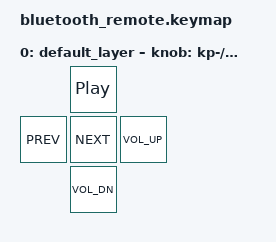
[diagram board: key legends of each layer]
#include <behaviors.dtsi>
#include <dt-bindings/zmk/keys.h>
#include <dt-bindings/zmk/bt.h>

/ {
    behaviors {
        /* Kopplungsmodus starten (loescht den alten PC) */
        pairing_start: pairing_start {
            compatible = "zmk,behavior-bt-remote-pairing";
            #binding-cells = <0>;
        };

        /* Erst nach 2 s Halten ausloesen, kurz gedrueckt passiert nichts */
        pair_hold: pair_hold {
            compatible = "zmk,behavior-hold-tap";
            #binding-cells = <2>;
            flavor = "tap-preferred";
            tapping-term-ms = <2000>;
            bindings = <&pairing_start>, <&none>;
        };
    };

    combos {
        compatible = "zmk,combos";

        /* Kopplungsmodus: Play + Lauter zusammen 2 s halten.
         * Abbrechen: Play kurz druecken. */
        combo_bt_clear {
            timeout-ms = <150>;
            key-positions = <0 3>;
            bindings = <&pair_hold 0 0>;
        };
    };

    keymap {
        compatible = "zmk,keymap";

        default_layer {
            bindings = <
                &kp C_PP   &kp C_PREV   &kp C_NEXT   &kp C_VOL_UP   &kp C_VOL_DN
            >;

            sensor-bindings = <&inc_dec_kp KP_MINUS KP_PLUS>;
        };
    };
};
